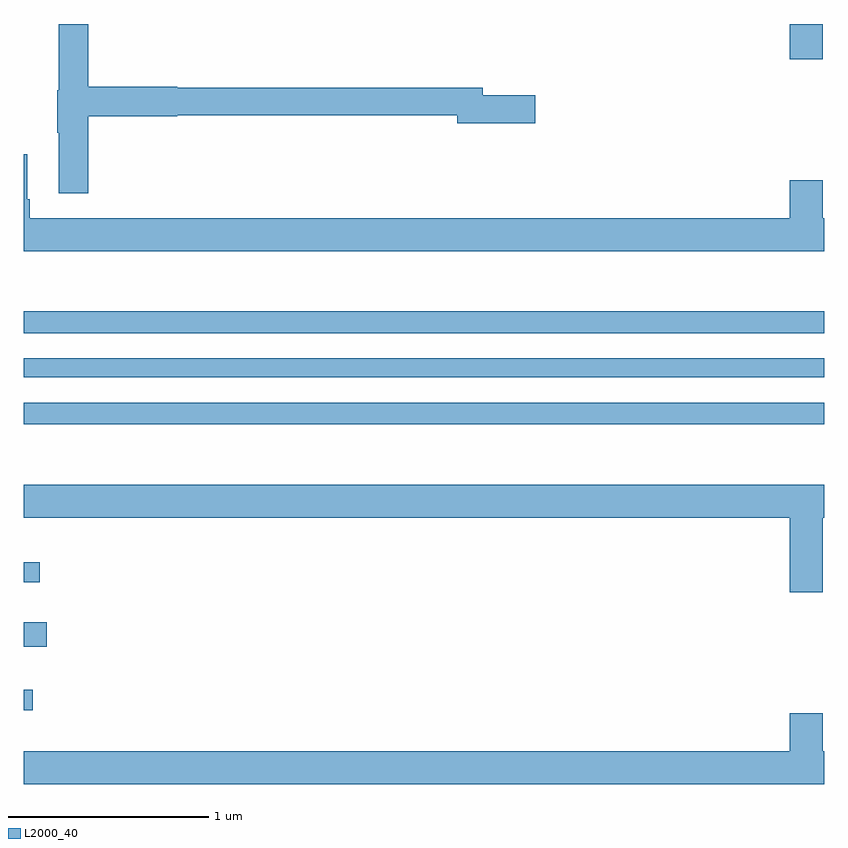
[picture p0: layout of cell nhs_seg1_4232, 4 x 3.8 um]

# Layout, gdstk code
import gdstk
lib = gdstk.Library(unit=1e-6, precision=1e-09)
def R(c, l, rs):  # rectangles x0, y0, x1, y1
    for r in rs: c.add(gdstk.rectangle(r[:2], r[2:], *l))
def P(c, l, *ps):  # polygons
    for p in ps: c.add(gdstk.Polygon(p, *l))
L2000_40 = (2000, 40)

nhs_seg1_4232 = lib.new_cell('nhs_seg1_4232')
R(nhs_seg1_4232, L2000_40, [(341,550.769,341.044,550.87), (341,551.087,341.113,551.209), (341,551.409,341.08,551.509), (341,552.198,345,552.306), (341,552.432,345,552.528), (341,552.654,345,552.763), (344.828,554.022,344.992,554.199)])
P(nhs_seg1_4232, L2000_40, [(341.321,553.739),(341.766,553.739),(341.766,553.744),(343.166,553.744),(343.166,553.702),(343.555,553.702),(343.555,553.844),(343.294,553.844),(343.294,553.88),(341.766,553.88),(341.766,553.886),(341.321,553.886),(341.321,554.199),(341.174,554.199),(341.174,553.869),(341.167,553.869),(341.167,553.655),(341.174,553.655),(341.174,553.353),(341.321,553.353)],
  [(345,553.228),(344.992,553.228),(344.992,553.417),(344.828,553.417),(344.828,553.228),(341.03,553.228),(341.03,553.324),(341.017,553.324),(341.017,553.549),(341,553.549),(341,553.064),(345,553.064)],
  [(344.992,551.732),(345,551.732),(345,551.896),(341,551.896),(341,551.732),(344.828,551.732),(344.828,551.358),(344.992,551.358)],
  [(345,550.564),(344.992,550.564),(344.992,550.753),(344.828,550.753),(344.828,550.564),(341,550.564),(341,550.4),(345,550.4)])

lib.write_gds('nhs_seg1_4232.gds')
